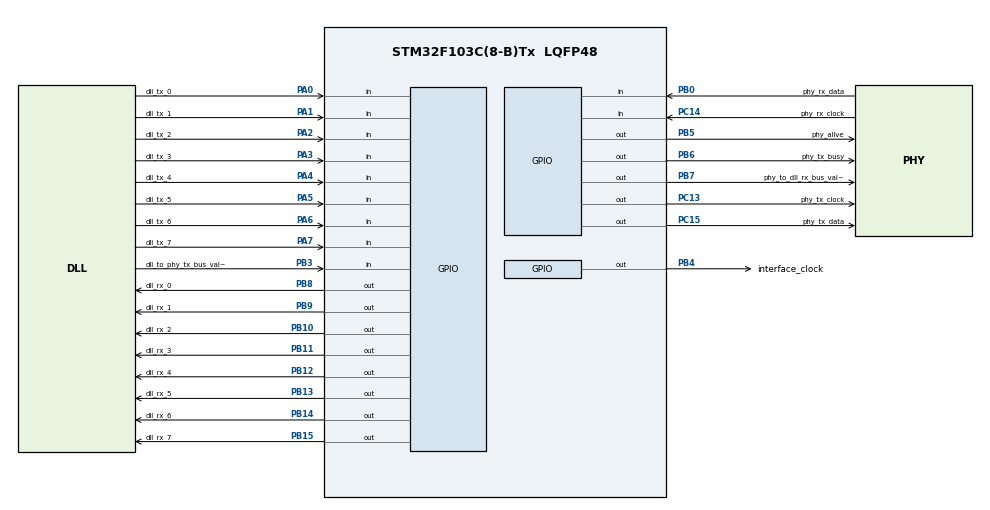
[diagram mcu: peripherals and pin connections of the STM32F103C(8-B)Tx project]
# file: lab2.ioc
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Mcu.Family=STM32F1
Mcu.Name=STM32F103C(8-B)Tx
Mcu.Package=LQFP48
NVIC.PriorityGroup=NVIC_PRIORITYGROUP_4
NVIC.TIM2_IRQn=true\:0\:0\:false\:true\:true\:1\:true
NVIC.TIM3_IRQn=true\:0\:0\:false\:true\:true\:2\:true
PA0-WKUP.GPIO_Label=dll_tx_0
PA0-WKUP.GPIO_PuPd=GPIO_PULLDOWN
PA0-WKUP.Signal=GPIO_Input
PA1.GPIO_Label=dll_tx_1
PA1.GPIO_PuPd=GPIO_PULLDOWN
PA1.Signal=GPIO_Input
PA13.Mode=Serial_Wire
PA13.Signal=SYS_JTMS-SWDIO
PA14.Mode=Serial_Wire
PA14.Signal=SYS_JTCK-SWCLK
PA2.GPIO_Label=dll_tx_2
PA2.GPIO_PuPd=GPIO_PULLDOWN
PA2.Signal=GPIO_Input
PA3.GPIO_Label=dll_tx_3
PA3.GPIO_PuPd=GPIO_PULLDOWN
PA3.Signal=GPIO_Input
PA4.GPIO_Label=dll_tx_4
PA4.GPIO_PuPd=GPIO_PULLDOWN
PA4.Signal=GPIO_Input
PA5.GPIO_Label=dll_tx_5
PA5.GPIO_PuPd=GPIO_PULLDOWN
PA5.Signal=GPIO_Input
PA6.GPIO_Label=dll_tx_6
PA6.GPIO_PuPd=GPIO_PULLDOWN
PA6.Signal=GPIO_Input
PA7.GPIO_Label=dll_tx_7
PA7.GPIO_PuPd=GPIO_PULLDOWN
PA7.Signal=GPIO_Input
PB0.GPIO_Label=phy_rx_data
PB0.GPIO_PuPd=GPIO_PULLDOWN
PB0.Signal=GPIO_Input
PB10.GPIO_Label=dll_rx_2
PB10.Signal=GPIO_Output
PB11.GPIO_Label=dll_rx_3
PB11.Signal=GPIO_Output
PB12.GPIO_Label=dll_rx_4
PB12.Signal=GPIO_Output
PB13.GPIO_Label=dll_rx_5
PB13.Signal=GPIO_Output
PB14.GPIO_Label=dll_rx_6
PB14.Signal=GPIO_Output
PB15.GPIO_Label=dll_rx_7
PB15.Signal=GPIO_Output
PB3.GPIO_Label=dll_to_phy_tx_bus_valid
PB3.GPIO_PuPd=GPIO_PULLDOWN
PB3.Signal=GPIO_Input
PB4.GPIO_Label=interface_clock
PB4.Signal=GPIO_Output
PB5.GPIO_Label=phy_alive
PB5.Signal=GPIO_Output
PB6.GPIO_Label=phy_tx_busy
PB6.Signal=GPIO_Output
PB7.GPIO_Label=phy_to_dll_rx_bus_valid
PB7.Signal=GPIO_Output
PB8.GPIO_Label=dll_rx_0
PB8.Signal=GPIO_Output
PB9.GPIO_Label=dll_rx_1
PB9.Signal=GPIO_Output
PC13-TAMPER-RTC.GPIO_Label=phy_tx_clock
PC13-TAMPER-RTC.Signal=GPIO_Output
PC14-OSC32_IN.GPIO_Label=phy_rx_clock
PC14-OSC32_IN.GPIO_PuPd=GPIO_PULLDOWN
PC14-OSC32_IN.Signal=GPIO_Input
PC15-OSC32_OUT.GPIO_Label=phy_tx_data
PC15-OSC32_OUT.Signal=GPIO_Output
ProjectManager.HeapSize=0x200
ProjectManager.StackSize=0x400
ProjectManager.TargetToolchain=MDK-ARM V5
RCC.APB1Freq_Value=8000000
RCC.APB2CLKDivider=RCC_HCLK_DIV16
RCC.APB2Freq_Value=500000
RCC.APB2TimFreq_Value=1000000
TIM2.Period=1
TIM2.Prescaler=4999
TIM3.Period=4
TIM3.Prescaler=4999
VP_TIM2_VS_ClockSourceINT.Mode=Internal
VP_TIM3_VS_ClockSourceINT.Mode=Internal
board=custom

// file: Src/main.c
/**
  ******************************************************************************
  * @file           : main.c
  * @brief          : Main program body
  ******************************************************************************
  ** This notice applies to any and all portions of this file
  * that are not between comment pairs USER CODE BEGIN and
  * USER CODE END. Other portions of this file, whether
  * inserted by the user or by software development tools
  * are owned by their respective copyright owners.
  *
  * COPYRIGHT(c) 2020 STMicroelectronics
  *
  * Redistribution and use in source and binary forms, with or without modification,
  * are permitted provided that the following conditions are met:
  *   1. Redistributions of source code must retain the above copyright notice,
  *      this list of conditions and the following disclaimer.
  *   2. Redistributions in binary form must reproduce the above copyright notice,
  *      this list of conditions and the following disclaimer in the documentation
  *      and/or other materials provided with the distribution.
  *   3. Neither the name of STMicroelectronics nor the names of its contributors
  *      may be used to endorse or promote products derived from this software
  *      without specific prior written permission.
  *
  * THIS SOFTWARE IS PROVIDED BY THE COPYRIGHT HOLDERS AND CONTRIBUTORS "AS IS"
  * AND ANY EXPRESS OR IMPLIED WARRANTIES, INCLUDING, BUT NOT LIMITED TO, THE
  * IMPLIED WARRANTIES OF MERCHANTABILITY AND FITNESS FOR A PARTICULAR PURPOSE ARE
  * DISCLAIMED. IN NO EVENT SHALL THE COPYRIGHT HOLDER OR CONTRIBUTORS BE LIABLE
  * FOR ANY DIRECT, INDIRECT, INCIDENTAL, SPECIAL, EXEMPLARY, OR CONSEQUENTIAL
  * DAMAGES (INCLUDING, BUT NOT LIMITED TO, PROCUREMENT OF SUBSTITUTE GOODS OR
  * SERVICES; LOSS OF USE, DATA, OR PROFITS; OR BUSINESS INTERRUPTION) HOWEVER
  * CAUSED AND ON ANY THEORY OF LIABILITY, WHETHER IN CONTRACT, STRICT LIABILITY,
  * OR TORT (INCLUDING NEGLIGENCE OR OTHERWISE) ARISING IN ANY WAY OUT OF THE USE
  * OF THIS SOFTWARE, EVEN IF ADVISED OF THE POSSIBILITY OF SUCH DAMAGE.
  *
  ******************************************************************************
  */
#include "main.h"
#include "stm32f1xx_hal.h"

/* USER CODE BEGIN Includes */
#define MASK_MAX 256
#define BYTE_COUNT 8
#define GPIOA_IDR 0x40010808
#define GPIOB_ODR 0x40010C0C
/* USER CODE END Includes */

TIM_HandleTypeDef htim2;
TIM_HandleTypeDef htim3;

/* USER CODE BEGIN PV */
/* Private variables ---------------------------------------------------------*/
static uint32_t phy_to_dll_rx_bus;
static uint32_t dll_to_phy_tx_bus;
static uint32_t dll_to_phy_tx_bus_valid = 0;
static uint32_t phy_to_dll_rx_bus_valid = 0;
uint8_t dll_new_data = 0;
uint8_t phy_rx_new_data = 0;

static uint32_t phy_tx_data_value = 0;
static uint32_t phy_rx_data_value = 0;
static uint32_t tx_clock = 0;
static uint32_t phy_rx_clock = 0;
static uint32_t interface_clock = 0;
uint32_t prev_tx_clock = 0;
uint32_t prev_rx_clock = 0;
uint32_t prev_interface_clock = 0;
uint8_t output_data = 0;

static uint32_t alive = 0;
static uint32_t phy_busy = 0;
/* USER CODE END PV */

void SystemClock_Config(void);
static void MX_GPIO_Init(void);
static void MX_TIM2_Init(void);
static void MX_TIM3_Init(void);
static void MX_NVIC_Init(void);

/* USER CODE BEGIN PFP */
/* Private function prototypes -----------------------------------------------*/

/* USER CODE END PFP */

/* USER CODE BEGIN 0 */
/*
The funcion receives data from dll_tx to send, than sends it over the communication line
every time tx_clock is in rising edge.
In order to send the data the function starts a clock, than stops it in the end of the transfer.
*/
void phy_TX()
{
	uint8_t masked_bit = 0;
	static uint8_t data_to_send = 0;
	static uint16_t mask = 1;

	if(dll_new_data)//dll tranfered new data to send
	{
		HAL_GPIO_WritePin(phy_tx_busy_GPIO_Port, phy_tx_busy_Pin, GPIO_PIN_SET);//set phy_tx_busy to 1
		phy_busy = 1;
		HAL_TIM_Base_Start(&htim3);
		HAL_TIM_Base_Start_IT(&htim3);
		dll_new_data = 0;
	}
	else if(!prev_tx_clock && tx_clock && mask <= MASK_MAX)//sending data
	{
		masked_bit = (dll_to_phy_tx_bus)&(mask);
		if(masked_bit == mask)
		{
			HAL_GPIO_WritePin(phy_tx_data_GPIO_Port, phy_tx_data_Pin, GPIO_PIN_SET);
			phy_tx_data_value = 1;
		}
		else
		{
			HAL_GPIO_WritePin(phy_tx_data_GPIO_Port, phy_tx_data_Pin, GPIO_PIN_RESET);
			phy_tx_data_value = 0;
		}
		mask *= 2;
	}
	else if(mask > MASK_MAX)//sent the whole byte
	{
		HAL_TIM_Base_Stop(&htim3);
		HAL_TIM_Base_Stop_IT(&htim3);
		HAL_GPIO_WritePin(phy_tx_clock_GPIO_Port, phy_tx_clock_Pin, GPIO_PIN_RESET);//set clock to 0
		HAL_GPIO_WritePin(phy_tx_busy_GPIO_Port, phy_tx_busy_Pin, GPIO_PIN_RESET);//set phy_tx_busy to 0
		phy_busy = 0;
		mask = 1;
	}
}

/*
The function receives a bit from the communication line every time the rx_clock is in falling edge.
After reeiving 8 bits the function transfers the data to the dll_rx.
*/
void phy_RX()
{
	static uint32_t input = 0;
	static uint32_t counter = 1;
	static uint32_t data_input = 0;

	if(!phy_rx_clock && prev_rx_clock)
	{
		input = phy_rx_data_value = HAL_GPIO_ReadPin(phy_rx_data_GPIO_Port, phy_rx_data_Pin);
		data_input += (input * counter);//assemble the input data
		counter*=2;
	}
	if(counter > MASK_MAX)//received a byte
	{
		phy_to_dll_rx_bus = data_input;
		phy_rx_new_data = 1;
		counter = 1;
		data_input = 0;
	}
}

/*
The function communicates with the dll layer
*/
void interface()
{
	static int first_rising_edge = 1;
	static int first_iteration = 1;
	static uint32_t *GPIOA_IDR_PTR = (uint32_t*)GPIOA_IDR;
	static uint32_t *GPIOB_ODR_PTR = (uint32_t*)GPIOB_ODR;
	static uint32_t da_bits = 0;
	if(first_iteration)//first iteration of the function means the interface clock isnt on.
	{
		HAL_TIM_Base_Start(&htim2);
		HAL_TIM_Base_Start_IT(&htim2);
		first_iteration = 0;
	}
	else if(prev_interface_clock && !interface_clock && HAL_GPIO_ReadPin(dll_to_phy_tx_bus_valid_GPIO_Port,dll_to_phy_tx_bus_valid_Pin))
	{//interface clock on falling edge and dll sent new data(valid == 1)
		dll_to_phy_tx_bus = (*GPIOA_IDR_PTR & 255);
		dll_new_data = 1;
	}
	else if(!prev_interface_clock && interface_clock)
	{//interface clock on rising edge
		if(first_rising_edge)
		{
			HAL_GPIO_WritePin(phy_alive_GPIO_Port,phy_alive_Pin,GPIO_PIN_SET);
			first_rising_edge = 0;
			alive = 1;
		}
		if(HAL_GPIO_ReadPin(phy_to_dll_rx_bus_valid_GPIO_Port,phy_to_dll_rx_bus_valid_Pin)) //reset valid one clock cycle after data had been already happend in the past progressive sent to the dll(grammer bitch)
		{//if the valid is 1, which means data was sent to the dll one clock cycke ago, we need to reset valid to 0
			HAL_GPIO_WritePin(phy_to_dll_rx_bus_valid_GPIO_Port,phy_to_dll_rx_bus_valid_Pin,GPIO_PIN_RESET);
			phy_to_dll_rx_bus_valid = 0;
		}
		if(phy_rx_new_data)
		{//phy_tx received new data, send it to the dll than
			da_bits = (*GPIOB_ODR_PTR & 255) + (phy_to_dll_rx_bus << 8);
			*GPIOB_ODR_PTR = da_bits;
			HAL_GPIO_WritePin(phy_to_dll_rx_bus_valid_GPIO_Port,phy_to_dll_rx_bus_valid_Pin,GPIO_PIN_SET);
			phy_to_dll_rx_bus_valid = 1;
			phy_rx_new_data = 0;
		}
	}
}

void sampleClocks()
{
	prev_tx_clock = tx_clock;
	prev_rx_clock = phy_rx_clock;
	prev_interface_clock = interface_clock;
	tx_clock = HAL_GPIO_ReadPin(phy_tx_clock_GPIO_Port,phy_tx_clock_Pin);
	phy_rx_clock = HAL_GPIO_ReadPin(phy_rx_clock_GPIO_Port,phy_rx_clock_Pin);
	interface_clock = HAL_GPIO_ReadPin(interface_clock_GPIO_Port,interface_clock_Pin);
	dll_to_phy_tx_bus_valid = HAL_GPIO_ReadPin(dll_to_phy_tx_bus_valid_GPIO_Port, dll_to_phy_tx_bus_valid_Pin);
	phy_to_dll_rx_bus_valid = HAL_GPIO_ReadPin(phy_to_dll_rx_bus_valid_GPIO_Port, phy_to_dll_rx_bus_valid_Pin);
}

void phy_layer()
{
	phy_TX();
	phy_RX();
}
/* USER CODE END 0 */

int main(void)
{

  /* MCU Configuration----------------------------------------------------------*/

  /* Reset of all peripherals, Initializes the Flash interface and the Systick. */
  HAL_Init();

  /* Configure the system clock */
  SystemClock_Config();

  /* Initialize all configured peripherals */
  MX_GPIO_Init();
  MX_TIM2_Init();
  MX_TIM3_Init();

  /* Initialize interrupts */
  MX_NVIC_Init();
  /* USER CODE BEGIN 2 */
	HAL_GPIO_WritePin(phy_tx_clock_GPIO_Port,phy_tx_clock_Pin, GPIO_PIN_RESET);//set clock to 0
	HAL_GPIO_WritePin(interface_clock_GPIO_Port,interface_clock_Pin, GPIO_PIN_RESET);//set clock to 0
	HAL_GPIO_WritePin(phy_to_dll_rx_bus_valid_GPIO_Port,phy_to_dll_rx_bus_valid_Pin,GPIO_PIN_RESET);//set valid to 0
	tx_clock = 0;
	phy_rx_clock = 0;
	interface_clock = 0;
  /* USER CODE END 2 */

  /* Infinite loop */
  /* USER CODE BEGIN WHILE */
  while (1)
  {
		phy_layer();
		interface();
		sampleClocks();
  /* USER CODE END WHILE */

  }

}

void SystemClock_Config(void)
{

  RCC_OscInitTypeDef RCC_OscInitStruct;
  RCC_ClkInitTypeDef RCC_ClkInitStruct;

    /**Initializes the CPU, AHB and APB busses clocks
    */
  RCC_OscInitStruct.OscillatorType = RCC_OSCILLATORTYPE_HSI;
  RCC_OscInitStruct.HSIState = RCC_HSI_ON;
  RCC_OscInitStruct.HSICalibrationValue = 16;
  RCC_OscInitStruct.PLL.PLLState = RCC_PLL_NONE;
  if (HAL_RCC_OscConfig(&RCC_OscInitStruct) != HAL_OK)
  {
    _Error_Handler(__FILE__, __LINE__);
  }

    /**Initializes the CPU, AHB and APB busses clocks
    */
  RCC_ClkInitStruct.ClockType = RCC_CLOCKTYPE_HCLK|RCC_CLOCKTYPE_SYSCLK
                              |RCC_CLOCKTYPE_PCLK1|RCC_CLOCKTYPE_PCLK2;
  RCC_ClkInitStruct.SYSCLKSource = RCC_SYSCLKSOURCE_HSI;
  RCC_ClkInitStruct.AHBCLKDivider = RCC_SYSCLK_DIV1;
  RCC_ClkInitStruct.APB1CLKDivider = RCC_HCLK_DIV1;
  RCC_ClkInitStruct.APB2CLKDivider = RCC_HCLK_DIV16;

  if (HAL_RCC_ClockConfig(&RCC_ClkInitStruct, FLASH_LATENCY_0) != HAL_OK)
  {
    _Error_Handler(__FILE__, __LINE__);
  }

    /**Configure the Systick interrupt time
    */
  HAL_SYSTICK_Config(HAL_RCC_GetHCLKFreq()/1000);

    /**Configure the Systick
    */
  HAL_SYSTICK_CLKSourceConfig(SYSTICK_CLKSOURCE_HCLK);

  /* SysTick_IRQn interrupt configuration */
  HAL_NVIC_SetPriority(SysTick_IRQn, 0, 0);
}

/**
  * @brief NVIC Configuration.
  * @retval None
  */
static void MX_NVIC_Init(void)
{
  /* TIM2_IRQn interrupt configuration */
  HAL_NVIC_SetPriority(TIM2_IRQn, 0, 0);
  HAL_NVIC_EnableIRQ(TIM2_IRQn);
  /* TIM3_IRQn interrupt configuration */
  HAL_NVIC_SetPriority(TIM3_IRQn, 0, 0);
  HAL_NVIC_EnableIRQ(TIM3_IRQn);
}

/* TIM2 init function */
static void MX_TIM2_Init(void)
{

  TIM_ClockConfigTypeDef sClockSourceConfig;
  TIM_MasterConfigTypeDef sMasterConfig;

  htim2.Instance = TIM2;
  htim2.Init.Prescaler = 4999;
  htim2.Init.CounterMode = TIM_COUNTERMODE_UP;
  htim2.Init.Period = 1;
  htim2.Init.ClockDivision = TIM_CLOCKDIVISION_DIV1;
  htim2.Init.AutoReloadPreload = TIM_AUTORELOAD_PRELOAD_DISABLE;
  if (HAL_TIM_Base_Init(&htim2) != HAL_OK)
  {
    _Error_Handler(__FILE__, __LINE__);
  }

  sClockSourceConfig.ClockSource = TIM_CLOCKSOURCE_INTERNAL;
  if (HAL_TIM_ConfigClockSource(&htim2, &sClockSourceConfig) != HAL_OK)
  {
    _Error_Handler(__FILE__, __LINE__);
  }

  sMasterConfig.MasterOutputTrigger = TIM_TRGO_RESET;
  sMasterConfig.MasterSlaveMode = TIM_MASTERSLAVEMODE_DISABLE;
  if (HAL_TIMEx_MasterConfigSynchronization(&htim2, &sMasterConfig) != HAL_OK)
  {
    _Error_Handler(__FILE__, __LINE__);
  }

}

/* TIM3 init function */
static void MX_TIM3_Init(void)
{

  TIM_ClockConfigTypeDef sClockSourceConfig;
  TIM_MasterConfigTypeDef sMasterConfig;

  htim3.Instance = TIM3;
  htim3.Init.Prescaler = 4999;
  htim3.Init.CounterMode = TIM_COUNTERMODE_UP;
  htim3.Init.Period = 4;
  htim3.Init.ClockDivision = TIM_CLOCKDIVISION_DIV1;
  htim3.Init.AutoReloadPreload = TIM_AUTORELOAD_PRELOAD_DISABLE;
  if (HAL_TIM_Base_Init(&htim3) != HAL_OK)
  {
    _Error_Handler(__FILE__, __LINE__);
  }

  sClockSourceConfig.ClockSource = TIM_CLOCKSOURCE_INTERNAL;
  if (HAL_TIM_ConfigClockSource(&htim3, &sClockSourceConfig) != HAL_OK)
  {
    _Error_Handler(__FILE__, __LINE__);
  }

  sMasterConfig.MasterOutputTrigger = TIM_TRGO_RESET;
  sMasterConfig.MasterSlaveMode = TIM_MASTERSLAVEMODE_DISABLE;
  if (HAL_TIMEx_MasterConfigSynchronization(&htim3, &sMasterConfig) != HAL_OK)
  {
    _Error_Handler(__FILE__, __LINE__);
  }

}

/** Configure pins as
        * Analog
        * Input
        * Output
        * EVENT_OUT
        * EXTI
*/
static void MX_GPIO_Init(void)
{

  GPIO_InitTypeDef GPIO_InitStruct;

  /* GPIO Ports Clock Enable */
  __HAL_RCC_GPIOC_CLK_ENABLE();
  __HAL_RCC_GPIOA_CLK_ENABLE();
  __HAL_RCC_GPIOB_CLK_ENABLE();

  /*Configure GPIO pin Output Level */
  HAL_GPIO_WritePin(GPIOC, phy_tx_clock_Pin|phy_tx_data_Pin, GPIO_PIN_RESET);

  /*Configure GPIO pin Output Level */
  HAL_GPIO_WritePin(GPIOB, dll_rx_2_Pin|dll_rx_3_Pin|dll_rx_4_Pin|dll_rx_5_Pin
                          |dll_rx_6_Pin|dll_rx_7_Pin|interface_clock_Pin|phy_alive_Pin
                          |phy_tx_busy_Pin|phy_to_dll_rx_bus_valid_Pin|dll_rx_0_Pin|dll_rx_1_Pin, GPIO_PIN_RESET);

  /*Configure GPIO pins : phy_tx_clock_Pin phy_tx_data_Pin */
  GPIO_InitStruct.Pin = phy_tx_clock_Pin|phy_tx_data_Pin;
  GPIO_InitStruct.Mode = GPIO_MODE_OUTPUT_PP;
  GPIO_InitStruct.Pull = GPIO_NOPULL;
  GPIO_InitStruct.Speed = GPIO_SPEED_FREQ_LOW;
  HAL_GPIO_Init(GPIOC, &GPIO_InitStruct);

  /*Configure GPIO pin : phy_rx_clock_Pin */
  GPIO_InitStruct.Pin = phy_rx_clock_Pin;
  GPIO_InitStruct.Mode = GPIO_MODE_INPUT;
  GPIO_InitStruct.Pull = GPIO_PULLDOWN;
  HAL_GPIO_Init(phy_rx_clock_GPIO_Port, &GPIO_InitStruct);

  /*Configure GPIO pins : dll_tx_0_Pin dll_tx_1_Pin dll_tx_2_Pin dll_tx_3_Pin
                           dll_tx_4_Pin dll_tx_5_Pin dll_tx_6_Pin dll_tx_7_Pin */
  GPIO_InitStruct.Pin = dll_tx_0_Pin|dll_tx_1_Pin|dll_tx_2_Pin|dll_tx_3_Pin
                          |dll_tx_4_Pin|dll_tx_5_Pin|dll_tx_6_Pin|dll_tx_7_Pin;
  GPIO_InitStruct.Mode = GPIO_MODE_INPUT;
  GPIO_InitStruct.Pull = GPIO_PULLDOWN;
  HAL_GPIO_Init(GPIOA, &GPIO_InitStruct);

  /*Configure GPIO pins : phy_rx_data_Pin dll_to_phy_tx_bus_valid_Pin */
  GPIO_InitStruct.Pin = phy_rx_data_Pin|dll_to_phy_tx_bus_valid_Pin;
  GPIO_InitStruct.Mode = GPIO_MODE_INPUT;
  GPIO_InitStruct.Pull = GPIO_PULLDOWN;
  HAL_GPIO_Init(GPIOB, &GPIO_InitStruct);

  /*Configure GPIO pins : dll_rx_2_Pin dll_rx_3_Pin dll_rx_4_Pin dll_rx_5_Pin
                           dll_rx_6_Pin dll_rx_7_Pin interface_clock_Pin phy_alive_Pin
                           phy_tx_busy_Pin phy_to_dll_rx_bus_valid_Pin dll_rx_0_Pin dll_rx_1_Pin */
  GPIO_InitStruct.Pin = dll_rx_2_Pin|dll_rx_3_Pin|dll_rx_4_Pin|dll_rx_5_Pin
                          |dll_rx_6_Pin|dll_rx_7_Pin|interface_clock_Pin|phy_alive_Pin
                          |phy_tx_busy_Pin|phy_to_dll_rx_bus_valid_Pin|dll_rx_0_Pin|dll_rx_1_Pin;
  GPIO_InitStruct.Mode = GPIO_MODE_OUTPUT_PP;
  GPIO_InitStruct.Pull = GPIO_NOPULL;
  GPIO_InitStruct.Speed = GPIO_SPEED_FREQ_LOW;
  HAL_GPIO_Init(GPIOB, &GPIO_InitStruct);

}

void _Error_Handler(char *file, int line)
{
  while(1)
  {
  }
}

/************************ (C) COPYRIGHT STMicroelectronics *****END OF FILE****/
